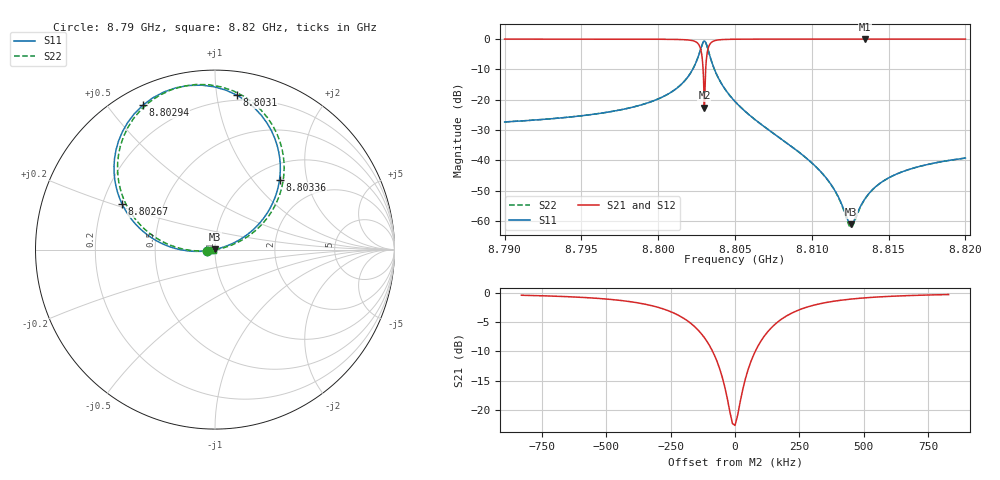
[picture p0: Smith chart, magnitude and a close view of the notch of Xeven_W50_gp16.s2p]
! Sonnet Data File
! From: emgraph Version : 16.52
! From Project: Qubit_Test_beforeopt
! Data is De-embedded
! Data File Written: 10/18/2017 16:57:23
!< HDATE 10/18/2017 09:03:38
!< MDATE 10/18/2017 09:03:38
!< PARAMS
!< Lj = 11.0
!< Gap = 16.0
!< Pwid = 2000.0
!< Airgap = 30.0
!< Width = 50.0
!< END PARAMS
# GHZ S MA R 51.80000
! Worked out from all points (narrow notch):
!   3001 points, 8.79 GHz to 8.82 GHz, reference 51.8 ohm
!   highest |S21| = 0.00 dB at 8.81348 GHz (marker M1); lowest = -22.7 dB at 8.80301 GHz (marker M2)
!   notch at M2: 22.6 dB deep, 139 kHz wide at half that depth
!   lowest |S11| = -61.1 dB at 8.81255 GHz (marker M3), VSWR 1.00, Z = 51.8 + j0.0892 ohm
!   |S11| at or under -10 dB: start of sweep to 8.802243 GHz; 8.803663 GHz to end of sweep
!   |S22| runs from -62.2 to -0.7 dB; largest |S21 - S12| = 0
!   S11 on the Smith chart (normalised r, x): 8.79 GHz: 0.92, -0.01; 8.80267 GHz: 0.28, +0.21; 8.80294 GHz: 0.07, +0.61; 8.8031 GHz: 0.16, +1.14; 8.80336 GHz: 1.28, +1.39; 8.82 GHz: 0.98, -0.00
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8.79  0.04309 -171.3  0.999 -81.5  0.999 -81.5  0.04309 -171.7
!< P1 F=8.79 Eeff=(6.43963342 -3.1364e-5) Z0=(50.401348 1.04894e-4) R=0.0 C=0.0
!< P2 F=8.79 Eeff=(6.43963342 -3.1364e-5) Z0=(50.401348 1.04894e-4) R=0.0 C=0.0
8.795  0.05445 -171.8  0.9984 -82.2  0.9984 -82.2  0.05444 -172.7
8.8  0.1032 -174.5  0.9942 -85.0  0.9942 -85.0  0.1032 -176.1
8.80124  0.1571 -177.7  0.9862 -88.2  0.9862 -88.2  0.1571 -179.6
8.80209  0.2718 175.2  0.9574 -94.9  0.9574 -94.9  0.2718 172.9
8.80245  0.4066 166.3  0.9009 -103.1  0.9009 -103.1  0.4065 163.9
8.80267  0.5749 154.0  0.7883 -114.2  0.7883 -114.2  0.5749 151.6
8.80282  0.756 137.8  0.5853 -127.9  0.5853 -127.9  0.756 135.3
8.80294  0.899 116.6  0.2596 -139.2  0.2596 -139.2  0.8989 114.1
8.80301  0.9275 101.4  0.0737 -69.3  0.0737 -69.3  0.9274 98.8
8.8031  0.8693 82.0  0.3524 -20.7  0.3524 -20.7  0.8692 79.4
8.80323  0.6903 60.5  0.6675 -35.7  0.6675 -35.7  0.6902 57.8
8.80336  0.5296 47.3  0.8199 -47.2  0.8199 -47.2  0.5296 44.6
8.80356  0.37 36.0  0.916 -57.4  0.916 -57.4  0.3699 33.2
8.80384  0.2501 28.2  0.9621 -64.7  0.9621 -64.7  0.2501 25.3
8.805  0.09372 18.7  0.9945 -73.8  0.9945 -73.8  0.0937 15.1
8.81  0.009119 18.4  0.9999 -78.7  0.9999 -78.7  0.009102 5.4
8.81141  0.003492 27.1  0.9999 -79.0  0.9999 -79.0  0.003461 -3.1
8.81255  0.0008811 102.0  0.9999 -79.2  0.9999 -79.2  0.0007802 -80.5
8.81348  0.002375 170.4  1 -79.4  1 -79.4  0.002346 -151.0
8.815  0.005156 -177.9  1 -79.5  1 -79.5  0.005145 -161.9
8.82  0.01094 -173.1  0.9999 -79.9  0.9999 -79.9  0.01094 -166.9
